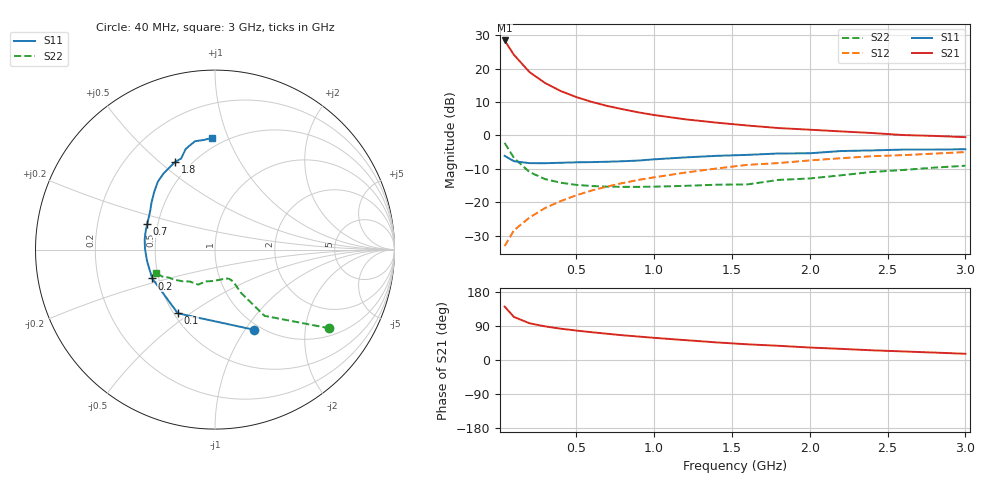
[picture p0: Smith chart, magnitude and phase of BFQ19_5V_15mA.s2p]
! Filename:  BFQ19A.S2P  Version:  2.0
! Philips part #: BFQ19  Date: Jul 1990
! Bias condition: Vce=5V, Ic=15mA
#  MHz  S  MA  R  50
! Freq  S11  S21  S12  S22  !GUM [dB]
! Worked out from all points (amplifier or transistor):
!   21 points, 40 MHz to 3 GHz, reference 50 ohm
!   highest |S21| = 28.4 dB at 40 MHz (marker M1)
!   |S21| within 3 dB of that: start of sweep to 81.8 MHz
!   unconditionally stable (mu >= 1): 336.6 MHz to 1.211 GHz
!   at 300 MHz: K = 0.99, MSG = 18.7 dB, |S12| = -21.7 dB
!   at 1 GHz: K = 1.03, MAG = 8.3 dB, |S12| = -12.5 dB
!   at 3 GHz: K = 0.90, MSG = 2.2 dB, |S12| = -5.0 dB
!   S11 on the Smith chart (normalised r, x): 40 MHz: 0.93, -1.09; 100 MHz: 0.52, -0.45; 200 MHz: 0.46, -0.17; 700 MHz: 0.44, +0.15; 1.8 GHz: 0.41, +0.56; 3 GHz: 0.43, +0.88
40  0.495 -64.3  26.43 141.0  0.022 65.5  0.774 -34.5
100  0.411 -120.3  16.1 113.6  0.038 62.3  0.461 -53.2
200  0.385 -155.3  8.875 96.9  0.059 65.4  0.283 -58.9
300  0.384 -170.3  6.097 88.7  0.082 68.7  0.222 -60.0
400  0.39 179.4  4.628 82.6  0.104 69.9  0.196 -61.5
500  0.396 171.7  3.758 77.8  0.127 70.2  0.182 -63.9
600  0.399 165.9  3.178 73.3  0.15 70.4  0.175 -67.0
700  0.404 159.2  2.763 69.2  0.172 69.5  0.171 -70.9
800  0.411 153.8  2.465 65.2  0.194 68.7  0.17 -74.7
900  0.421 148.9  2.215 61.9  0.216 67.8  0.17 -80.0
1000  0.439 143.8  2.023 58.5  0.236 66.8  0.171 -84.8
1200  0.469 136.0  1.745 52.4  0.278 64.7  0.176 -94.9
1400  0.495 130.0  1.556 46.5  0.32 62.5  0.183 -104.9
1600  0.512 124.0  1.408 41.4  0.363 59.9  0.185 -106.2
1800  0.537 114.5  1.29 37.5  0.386 58.2  0.216 -115.5
2000  0.541 110.5  1.219 32.9  0.423 55.7  0.227 -128.5
2200  0.584 106.2  1.15 29.4  0.456 53.4  0.253 -135.8
2400  0.597 103.6  1.088 25.6  0.489 51.1  0.284 -144.0
2600  0.614 100.4  1.014 22.6  0.507 48.5  0.304 -149.5
2800  0.614 95.9  0.984 19.6  0.535 46.9  0.33 -152.9
3000  0.622 91.5  0.943 16.4  0.564 44.2  0.352 -158.4
